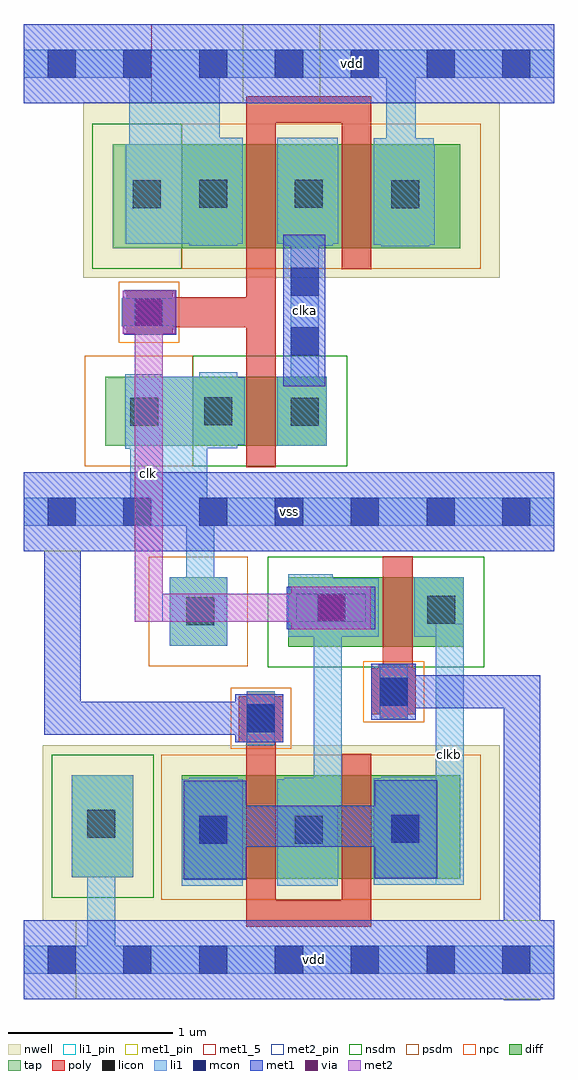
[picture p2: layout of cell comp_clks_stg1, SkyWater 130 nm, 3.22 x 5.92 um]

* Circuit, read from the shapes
.subckt comp_clks_stg1 clk clka clkb vdd vss
XM1 clka clk vss vss sky130_fd_pr__nfet_01v8 w=0.42 l=0.18
XM2 clkb vdd clk vss sky130_fd_pr__nfet_01v8 w=0.42 l=0.18
XM3 clk vss clkb vdd sky130_fd_pr__pfet_01v8 w=0.63 l=0.18 m=2
XM4 clka clk vdd vdd sky130_fd_pr__pfet_01v8 w=0.63 l=0.18 m=2
.ends

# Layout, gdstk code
import gdstk
lib = gdstk.Library(unit=1e-6, precision=1e-09)
def R(c, l, rs):  # rectangles x0, y0, x1, y1
    for r in rs: c.add(gdstk.rectangle(r[:2], r[2:], *l))
def A(c, l, x, y, w, h, nx, ny, dx, dy):  # array of equal rectangles
    R(c, l, [(x+i*dx, y+j*dy, x+i*dx+w, y+j*dy+h) for i in range(nx) for j in range(ny)])
nwell = (64, 20)
diff = (65, 20)
tap = (65, 44)
poly = (66, 20)
licon = (66, 44)
li1_pin = (67, 16)
li1 = (67, 20)
mcon = (67, 44)
met1_5 = (68, 5)
met1_pin = (68, 16)
met1 = (68, 20)
via = (68, 44)
met2_pin = (69, 16)
met2 = (69, 20)
nsdm = (93, 44)
psdm = (94, 20)
npc = (95, 20)

c_tg = lib.new_cell('tg')
R(c_tg, nwell, [(-1.265,1.02,1.51,2.085)])
R(c_tg, diff, [(0.225,0,1.29,0.42), (-0.42,1.2,1.27,1.83)])
R(c_tg, tap, [(-0.495,0,-0.145,0.415), (-1.085,1.2,-0.715,1.82)])
R(c_tg, poly, [(0.8,-0.13,0.98,0.53), (0.775,0.53,0.98,0.55), (0.73,0.55,1,0.83), (-0.025,0.69,0.145,0.72), (-0.075,0.72,0.195,1), (0.78,0.83,0.95,0.86), (-0.03,1,0.15,1.96), (0.55,1.07,0.73,1.96), (-0.03,1.96,0.73,2.12)])
R(c_tg, licon, [(0.4,0.1,0.57,0.27), (1.07,0.11,1.24,0.28), (-0.395,0.12,-0.225,0.29), (0.78,0.61,0.95,0.78), (-0.025,0.77,0.145,0.94), (-0.995,1.41,-0.825,1.58), (0.85,1.44,1.02,1.61), (-0.315,1.445,-0.145,1.615), (0.265,1.445,0.435,1.615)])
R(c_tg, li1_pin, [(1.07,0.11,1.24,0.28)])
R(c_tg, li1, [(-1.38,-0.485,1.84,-0.315), (-0.395,-0.315,-0.225,0), (0.225,-0.02,0.495,0.005), (-0.495,0,-0.145,0.415), (0.99,0,1.29,0.36), (0.225,0.005,0.775,0.36), (0.38,0.36,0.55,1.215), (1.12,0.36,1.29,1.21), (0.78,0.53,0.95,0.86), (-0.025,0.69,0.145,1.02), (-1.09,1.2,-0.715,1.82), (0.79,1.21,1.29,1.22), (-0.375,1.215,-0.085,1.225), (0.205,1.215,0.55,1.225), (0.745,1.22,1.29,1.865), (-0.42,1.225,-0.05,1.87), (0.16,1.225,0.55,1.385), (0.16,1.385,0.53,1.83), (-0.995,1.82,-0.825,2.235), (0.16,1.83,0.525,1.87), (-1.38,2.235,1.84,2.405)])
A(c_tg, mcon, -1.235, -0.485, 0.17, 0.17, 7, 2, 0.46, 2.72)
R(c_tg, mcon, [(0.4,0.1,0.57,0.27), (0.78,0.61,0.95,0.78), (-0.025,0.77,0.145,0.94), (0.85,1.44,1.02,1.61), (-0.315,1.445,-0.145,1.615)])
R(c_tg, met1_pin, [(-0.145,-0.64,0.145,-0.16), (0.78,0.61,0.95,0.78), (-0.025,0.77,0.145,0.94), (-0.145,2.08,0.145,2.56)])
R(c_tg, met1, [(-1.38,-0.64,1.84,-0.16), (0.215,0.055,0.755,0.315), (0.73,0.525,1,0.865), (-0.095,0.71,0.195,1), (0.75,1.23,1.13,1.385), (-0.41,1.235,-0.03,1.385), (-0.41,1.385,1.13,1.635), (-0.41,1.635,-0.03,1.835), (0.75,1.635,1.13,1.825), (-1.38,2.08,0.745,2.085), (1.02,2.08,1.84,2.085), (-1.38,2.085,1.84,2.56)])
R(c_tg, via, [(0.41,0.11,0.56,0.26)])
R(c_tg, met2_pin, [(0.275,0.1,0.695,0.27)])
R(c_tg, met2, [(0.245,0.055,0.725,0.315)])
R(c_tg, nsdm, [(0.1,-0.125,1.415,0.545), (-1.21,1.075,-0.59,1.945)])
R(c_tg, psdm, [(-0.62,-0.125,-0.02,0.54), (-0.545,1.075,1.395,1.955)])
R(c_tg, npc, [(0.68,0.51,1.05,0.88), (-0.125,0.67,0.245,1.04)])
c_tg.add(gdstk.Label('ctrl_', (0.06,0.855), layer=68, texttype=16))
c_tg.add(gdstk.Label('ctrl', (0.865,0.695), layer=68, texttype=16))
c_tg.add(gdstk.Label('in', (0.485,0.185), layer=69, texttype=16))
c_tg.add(gdstk.Label('out', (1.155,0.195), layer=67, texttype=16))
c_tg.add(gdstk.Label('vdd', (0,2.32), layer=68, texttype=16))
c_tg.add(gdstk.Label('vss', (0,-0.4), layer=68, texttype=16))

inverter = lib.new_cell('inverter')
R(inverter, nwell, [(-1.02,1.02,1.51,2.085)])
R(inverter, diff, [(-0.355,0,0.46,0.42), (-0.42,1.2,1.27,1.83)])
R(inverter, tap, [(-0.885,0,-0.355,0.42), (-0.84,1.2,-0.42,1.83)])
R(inverter, poly, [(-0.03,-0.13,0.15,0.72), (-0.755,0.675,-0.475,0.72), (-0.755,0.72,0.15,0.725), (-0.785,0.725,0.15,0.895), (-0.755,0.895,0.15,0.9), (-0.755,0.9,-0.475,0.945), (-0.03,0.9,0.15,1.96), (0.55,1.07,0.73,1.96), (-0.03,1.96,0.73,2.12)])
R(inverter, licon, [(-0.735,0.12,-0.565,0.29), (0.24,0.12,0.41,0.29), (-0.285,0.125,-0.115,0.295), (-0.705,0.725,-0.535,0.895), (-0.72,1.44,-0.55,1.61), (0.85,1.44,1.02,1.61), (-0.315,1.445,-0.145,1.615), (0.265,1.445,0.435,1.615)])
R(inverter, li1, [(-1.38,-0.485,1.84,-0.315), (-0.735,-0.315,-0.265,-0.02), (-0.765,-0.02,-0.265,-0.015), (-0.765,-0.015,-0.085,0.005), (0.16,0,0.46,0.42), (-0.765,0.005,-0.04,0.415), (-0.765,0.415,-0.085,0.42), (-0.765,0.42,-0.535,0.435), (-0.315,0.42,-0.085,0.445), (0.24,0.42,0.41,1.215), (-0.785,0.725,-0.455,0.895), (0.79,1.21,1.08,1.22), (-0.375,1.215,-0.085,1.225), (0.205,1.215,0.495,1.225), (0.745,1.22,1.115,1.825), (-0.76,1.225,-0.05,1.83), (0.16,1.225,0.53,1.83), (0.745,1.825,1.11,1.865), (-0.74,1.83,-0.05,1.87), (0.16,1.83,0.525,1.87), (0.82,1.865,1,2.235), (-0.74,1.87,-0.19,2.235), (-1.38,2.235,1.84,2.405)])
A(inverter, mcon, -1.235, -0.485, 0.17, 0.17, 7, 2, 0.46, 2.72)
R(inverter, mcon, [(0.24,0.55,0.41,0.72), (-0.705,0.725,-0.535,0.895), (0.24,0.91,0.41,1.08)])
R(inverter, met1_pin, [(-0.145,-0.64,0.145,-0.16), (0.24,0.42,0.41,1.215), (-0.05,2.08,0.42,2.56)])
R(inverter, met1, [(-1.38,-0.64,1.84,-0.16), (0.195,0.36,0.45,1.28), (-0.77,0.675,-0.455,0.68), (-0.78,0.68,-0.455,0.94), (-0.77,0.94,-0.455,0.945), (-1.38,2.08,1.84,2.56)])
R(inverter, via, [(-0.695,0.735,-0.545,0.885)])
R(inverter, met2_pin, [(-0.705,0.725,-0.535,0.895)])
R(inverter, met2, [(-0.78,0.68,-0.46,0.94)])
R(inverter, nsdm, [(-0.355,-0.125,0.585,0.545), (-0.965,1.075,-0.42,1.955)])
R(inverter, psdm, [(-1.01,-0.125,-0.355,0.545), (-0.42,1.075,1.395,1.955)])
R(inverter, npc, [(-0.805,0.625,-0.435,0.995)])
inverter.add(gdstk.Label('in', (-0.62,0.81), layer=69, texttype=16))
inverter.add(gdstk.Label('out', (0.325,0.817), layer=68, texttype=16))
inverter.add(gdstk.Label('vss', (0,-0.4), layer=68, texttype=16))
inverter.add(gdstk.Label('vdd', (0.185,2.32), layer=68, texttype=16))

comp_clks_stg1 = lib.new_cell('comp_clks_stg1')
R(comp_clks_stg1, li1_pin, [(2.5,-2.025,2.67,-0.44)])
R(comp_clks_stg1, li1, [(2.5,-2.025,2.67,-0.44)])
R(comp_clks_stg1, met1_5, [(0.775,2.72,3.22,3.2)])
R(comp_clks_stg1, met1_pin, [(0.315,-2.72,3.22,-2.24), (0,0,3.22,0.48), (1.575,1,1.83,1.92)])
R(comp_clks_stg1, met1, [(2.915,-2.725,3.135,-2.72), (0.315,-2.72,3.22,-2.24), (2.915,-2.24,3.135,-0.955), (0.125,-1.115,1.395,-0.915), (2.175,-0.955,3.135,-0.755), (0.125,-0.915,0.345,0), (0,0,3.22,0.48), (1.575,1,1.83,1.92), (0.775,2.72,3.22,3.2)])
R(comp_clks_stg1, met2_pin, [(0.675,-0.43,0.845,1.37)])
R(comp_clks_stg1, met2, [(0.675,-0.43,1.685,-0.26), (0.675,-0.26,0.845,1.37)])
comp_clks_stg1.add(gdstk.Reference(c_tg, (1.38,-0.16), x_reflection=True))
comp_clks_stg1.add(gdstk.Reference(inverter, (1.38,0.64)))
comp_clks_stg1.add(gdstk.Label('vdd', (1.997,2.96), layer=68, texttype=5))
comp_clks_stg1.add(gdstk.Label('vdd', (1.767,-2.48), layer=68, texttype=16))
comp_clks_stg1.add(gdstk.Label('vss', (1.61,0.24), layer=68, texttype=16))
comp_clks_stg1.add(gdstk.Label('clk', (0.76,0.47), layer=69, texttype=16))
comp_clks_stg1.add(gdstk.Label('clka', (1.702,1.46), layer=68, texttype=16))
comp_clks_stg1.add(gdstk.Label('clkb', (2.585,-1.232), layer=67, texttype=16))

lib.write_gds('comp_clks_stg1.gds')
